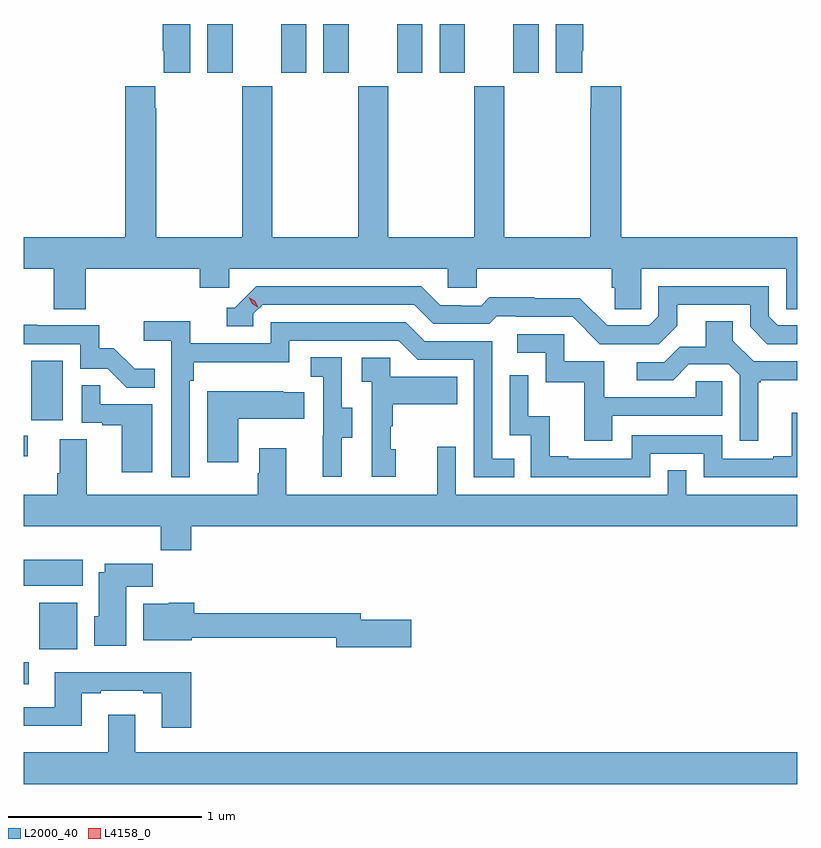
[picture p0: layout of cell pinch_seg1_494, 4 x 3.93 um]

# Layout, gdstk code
import gdstk
lib = gdstk.Library(unit=1e-6, precision=1e-09)
def R(c, l, rs):  # rectangles x0, y0, x1, y1
    for r in rs: c.add(gdstk.rectangle(r[:2], r[2:], *l))
def P(c, l, *ps):  # polygons
    for p in ps: c.add(gdstk.Polygon(p, *l))
L2000_40 = (2000, 40)
L4158_0 = (4158, 0)

pinch_seg1_494 = lib.new_cell('pinch_seg1_494')
R(pinch_seg1_494, L2000_40, [(1117.44,536.265,1117.465,536.378), (1117.52,536.444,1117.717,536.686), (1117.44,536.774,1117.744,536.908), (1117.44,537.444,1117.462,537.549), (1117.478,537.63,1117.642,537.937), (1118.39,539.427,1118.521,539.678), (1118.771,539.427,1118.902,539.678), (1118.99,539.427,1119.121,539.678), (1119.371,539.427,1119.502,539.678), (1119.59,539.427,1119.721,539.678), (1119.971,539.427,1120.102,539.678)])
P(pinch_seg1_494, L2000_40, [(1120.327,539.539),(1120.334,539.539),(1120.334,539.678),(1120.19,539.678),(1120.19,539.427),(1120.327,539.427)],
  [(1118.302,539.678),(1118.159,539.678),(1118.159,539.539),(1118.165,539.539),(1118.165,539.427),(1118.302,539.427)],
  [(1117.76,538.412),(1118.351,538.412),(1118.351,538.314),(1118.502,538.314),(1118.502,538.412),(1119.633,538.412),(1119.633,538.314),(1119.783,538.314),(1119.783,538.412),(1120.481,538.412),(1120.481,538.314),(1120.495,538.314),(1120.495,538.204),(1120.632,538.204),(1120.632,538.412),(1121.382,538.412),(1121.382,538.204),(1121.44,538.204),(1121.44,538.576),(1120.529,538.576),(1120.529,539.356),(1120.373,539.356),(1120.373,539.243),(1120.369,539.243),(1120.369,538.576),(1119.924,538.576),(1119.924,539.356),(1119.769,539.356),(1119.769,538.576),(1119.324,538.576),(1119.324,539.356),(1119.169,539.356),(1119.169,538.576),(1118.724,538.576),(1118.724,539.356),(1118.569,539.356),(1118.569,538.576),(1118.124,538.576),(1118.124,539.243),(1118.119,539.243),(1118.119,539.356),(1117.964,539.356),(1117.964,538.576),(1117.44,538.576),(1117.44,538.412),(1117.595,538.412),(1117.595,538.204),(1117.76,538.204)],
  [(1120.819,538.117),(1120.819,538.227),(1121.196,538.227),(1121.196,538.113),(1121.286,538.023),(1121.44,538.023),(1121.44,538.119),(1121.34,538.119),(1121.292,538.167),(1121.292,538.323),(1120.722,538.323),(1120.722,538.167),(1120.674,538.119),(1120.458,538.119),(1120.316,538.261),(1120.08,538.261),(1120.08,538.264),(1119.847,538.264),(1119.805,538.221),(1119.702,538.221),(1119.702,538.224),(1119.595,538.224),(1119.496,538.323),(1118.643,538.323),(1118.532,538.212),(1118.489,538.212),(1118.489,538.116),(1118.628,538.116),(1118.628,538.179),(1118.676,538.227),(1119.459,538.227),(1119.558,538.128),(1119.847,538.128),(1119.886,538.167),(1119.985,538.167),(1119.985,538.164),(1120.278,538.164),(1120.419,538.023),(1120.725,538.023)],
  [(1118.298,537.833),(1118.318,537.833),(1118.318,537.929),(1118.814,537.929),(1118.814,538.041),(1119.378,538.041),(1119.477,537.942),(1119.768,537.942),(1119.768,537.333),(1119.977,537.333),(1119.977,537.429),(1119.864,537.429),(1119.864,538.038),(1119.514,538.038),(1119.415,538.137),(1118.718,538.137),(1118.718,538.026),(1118.3,538.026),(1118.3,538.142),(1118.061,538.142),(1118.061,538.04),(1118.202,538.04),(1118.202,537.333),(1118.298,537.333)],
  [(1121.239,537.825),(1121.251,537.825),(1121.251,537.836),(1121.44,537.836),(1121.44,537.933),(1121.214,537.933),(1121.107,538.04),(1121.107,538.142),(1120.967,538.142),(1120.967,538.01),(1120.832,538.01),(1120.752,537.93),(1120.611,537.93),(1120.611,537.837),(1120.798,537.837),(1120.879,537.918),(1121.085,537.918),(1121.142,537.861),(1121.142,537.522),(1121.239,537.522)],
  [(1118.117,537.895),(1118.013,537.895),(1117.906,538.002),(1117.83,538.002),(1117.83,538.119),(1117.511,538.119),(1117.511,538.124),(1117.44,538.124),(1117.44,538.023),(1117.731,538.023),(1117.731,537.894),(1117.875,537.894),(1117.973,537.796),(1118.117,537.796)],
  [(1120.483,537.651),(1121.052,537.651),(1121.052,537.831),(1120.915,537.831),(1120.915,537.747),(1120.441,537.747),(1120.441,537.933),(1120.236,537.933),(1120.236,538.074),(1119.993,538.074),(1119.993,537.978),(1120.14,537.978),(1120.14,537.825),(1120.339,537.825),(1120.339,537.522),(1120.483,537.522)],
  [(1119.085,537.538),(1119.139,537.538),(1119.139,537.693),(1119.084,537.693),(1119.084,537.956),(1118.925,537.956),(1118.925,537.853),(1118.988,537.853),(1118.988,537.549),(1118.987,537.549),(1118.987,537.336),(1119.085,537.336)],
  [(1119.364,537.48),(1119.339,537.48),(1119.339,537.599),(1119.349,537.599),(1119.349,537.713),(1119.683,537.713),(1119.683,537.853),(1119.336,537.853),(1119.336,537.951),(1119.189,537.951),(1119.189,537.827),(1119.24,537.827),(1119.24,537.336),(1119.364,537.336)],
  [(1120.68,537.456),(1120.956,537.456),(1120.956,537.333),(1121.44,537.333),(1121.44,537.667),(1121.411,537.667),(1121.411,537.442),(1121.315,537.442),(1121.315,537.429),(1121.052,537.429),(1121.052,537.552),(1120.584,537.552),(1120.584,537.429),(1120.255,537.429),(1120.255,537.442),(1120.16,537.442),(1120.16,537.65),(1120.05,537.65),(1120.05,537.862),(1119.954,537.862),(1119.954,537.552),(1120.062,537.552),(1120.062,537.333),(1120.68,537.333)],
  [(1118.104,537.711),(1117.835,537.711),(1117.835,537.809),(1117.74,537.809),(1117.74,537.615),(1117.847,537.615),(1117.847,537.603),(1117.946,537.603),(1117.946,537.36),(1118.104,537.36)],
  [(1118.548,537.638),(1118.891,537.638),(1118.891,537.775),(1118.783,537.775),(1118.783,537.778),(1118.39,537.778),(1118.39,537.411),(1118.548,537.411)],
  [(1118.306,537.08),(1121.44,537.08),(1121.44,537.244),(1120.866,537.244),(1120.866,537.371),(1120.77,537.371),(1120.77,537.244),(1119.675,537.244),(1119.675,537.493),(1119.578,537.493),(1119.578,537.244),(1118.797,537.244),(1118.797,537.484),(1118.657,537.484),(1118.657,537.356),(1118.65,537.356),(1118.65,537.244),(1117.765,537.244),(1117.765,537.53),(1117.625,537.53),(1117.625,537.356),(1117.613,537.356),(1117.613,537.244),(1117.44,537.244),(1117.44,537.08),(1118.149,537.08),(1118.149,536.956),(1118.306,536.956)],
  [(1117.969,536.768),(1118.108,536.768),(1118.108,536.887),(1117.859,536.887),(1117.859,536.842),(1117.829,536.842),(1117.829,536.616),(1117.805,536.616),(1117.805,536.462),(1117.969,536.462)],
  [(1119.445,536.598),(1119.184,536.598),(1119.184,536.632),(1118.321,536.632),(1118.321,536.686),(1118.19,536.686),(1118.19,536.68),(1118.057,536.68),(1118.057,536.492),(1118.308,536.492),(1118.308,536.503),(1119.056,536.503),(1119.056,536.456),(1119.445,536.456)],
  [(1118.306,536.326),(1117.601,536.326),(1117.601,536.145),(1117.44,536.145),(1117.44,536.048),(1117.741,536.048),(1117.741,536.217),(1117.837,536.217),(1117.837,536.229),(1118.057,536.229),(1118.057,536.217),(1118.153,536.217),(1118.153,536.04),(1118.306,536.04)],
  [(1121.44,535.912),(1118.017,535.912),(1118.017,536.107),(1117.877,536.107),(1117.877,535.912),(1117.44,535.912),(1117.44,535.748),(1121.44,535.748)])
P(pinch_seg1_494, L4158_0, [(1118.651,538.213),(1118.621,538.232),(1118.604,538.264),(1118.604,538.264),(1118.604,538.264),(1118.635,538.246),(1118.652,538.213),(1118.652,538.213)])

lib.write_gds('pinch_seg1_494.gds')
